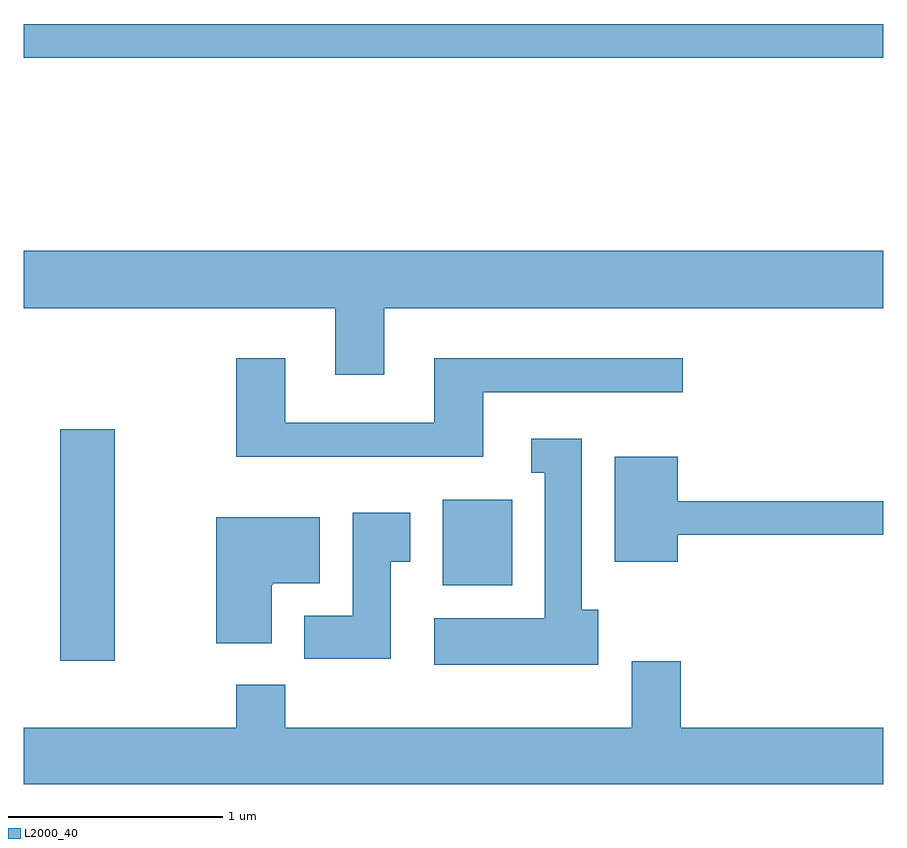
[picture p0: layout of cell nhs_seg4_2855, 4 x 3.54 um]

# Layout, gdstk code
import gdstk
lib = gdstk.Library(unit=1e-6, precision=1e-09)
def R(c, l, rs):  # rectangles x0, y0, x1, y1
    for r in rs: c.add(gdstk.rectangle(r[:2], r[2:], *l))
def P(c, l, *ps):  # polygons
    for p in ps: c.add(gdstk.Polygon(p, *l))
L2000_40 = (2000, 40)

nhs_seg4_2855 = lib.new_cell('nhs_seg4_2855')
R(nhs_seg4_2855, L2000_40, [(267.781,1388.556,268.034,1389.634), (269.561,1388.906,269.884,1389.304), (267.611,1391.361,271.611,1391.519)])
P(nhs_seg4_2855, L2000_40, [(269.289,1390.196),(271.611,1390.196),(271.611,1390.464),(267.611,1390.464),(267.611,1390.196),(269.061,1390.196),(269.061,1389.886),(269.289,1389.886)],
  [(269.749,1389.806),(270.678,1389.806),(270.678,1389.964),(269.521,1389.964),(269.521,1389.664),(268.829,1389.664),(268.829,1389.964),(268.601,1389.964),(268.601,1389.506),(269.749,1389.506)],
  [(270.284,1388.794),(270.209,1388.794),(270.209,1389.589),(269.973,1389.589),(269.973,1389.431),(270.036,1389.431),(270.036,1388.754),(269.521,1388.754),(269.521,1388.536),(270.284,1388.536)],
  [(270.654,1389.141),(271.611,1389.141),(271.611,1389.299),(270.654,1389.299),(270.654,1389.504),(270.361,1389.504),(270.361,1389.016),(270.654,1389.016)],
  [(269.319,1389.016),(269.409,1389.016),(269.409,1389.244),(269.141,1389.244),(269.141,1388.764),(268.916,1388.764),(268.916,1388.566),(269.319,1388.566)],
  [(268.764,1388.91),(268.77,1388.91),(268.77,1388.916),(268.989,1388.916),(268.989,1389.224),(268.506,1389.224),(268.506,1388.636),(268.764,1388.636)],
  [(271.611,1388.244),(270.669,1388.244),(270.669,1388.554),(270.441,1388.554),(270.441,1388.244),(268.829,1388.244),(268.829,1388.444),(268.601,1388.444),(268.601,1388.244),(267.611,1388.244),(267.611,1387.982),(271.611,1387.982)])

lib.write_gds('nhs_seg4_2855.gds')
